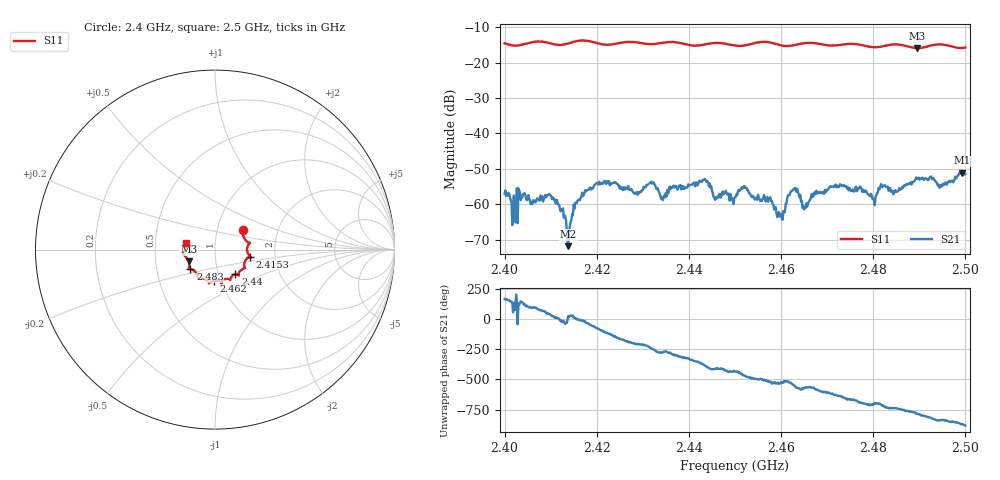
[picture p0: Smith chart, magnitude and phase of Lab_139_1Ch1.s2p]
# Hz S RI R 50
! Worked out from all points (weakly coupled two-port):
!   601 points, 2.4 GHz to 2.5 GHz, reference 50 ohm
!   highest |S21| = -51.11 dB at 2.4993 GHz (marker M1); lowest = -71.9 dB at 2.4138 GHz (marker M2)
!   lowest |S11| = -15.9 dB at 2.4895 GHz (marker M3), VSWR 1.38, Z = 36.9 - j4.99 ohm
!   |S11| at or under -10 dB: start of sweep to end of sweep
!   S12 and S22 are empty: the file has one direction only
!   S11 on the Smith chart (normalised r, x): 2.4 GHz: 1.33, +0.29; 2.4153 GHz: 1.48, -0.12; 2.44 GHz: 1.20, -0.34; 2.462 GHz: 0.93, -0.33; 2.483 GHz: 0.74, -0.17; 2.5 GHz: 0.72, +0.06
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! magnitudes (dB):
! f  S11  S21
! 2.4 GHz  -14.5  -57.0
! 2.402 GHz  -15.2  -57.6
! 2.4035 GHz  -15.0  -58.8
! 2.41 GHz  -14.5  -57.5
! 2.4138 GHz  -14.5  -71.9
! 2.4153 GHz  -14.0  -59.7
! 2.4167 GHz  -13.7  -58.0
! 2.4222 GHz  -14.9  -53.5
! 2.4333 GHz  -14.5  -56.0
! 2.44 GHz  -15.0  -54.6
! 2.45 GHz  -15.1  -58.0
! 2.452 GHz  -15.1  -54.9
! 2.4598 GHz  -15.0  -63.5
! 2.462 GHz  -15.2  -56.8
! 2.4652 GHz  -14.4  -60.8
! 2.4667 GHz  -14.4  -57.1
! 2.483 GHz  -15.1  -55.1
! 2.4833 GHz  -15.0  -56.2
! 2.4895 GHz  -15.9  -52.8
! 2.4945 GHz  -14.8  -55.2
! 2.4993 GHz  -15.8  -51.1
! 2.5 GHz  -15.7  -51.5
